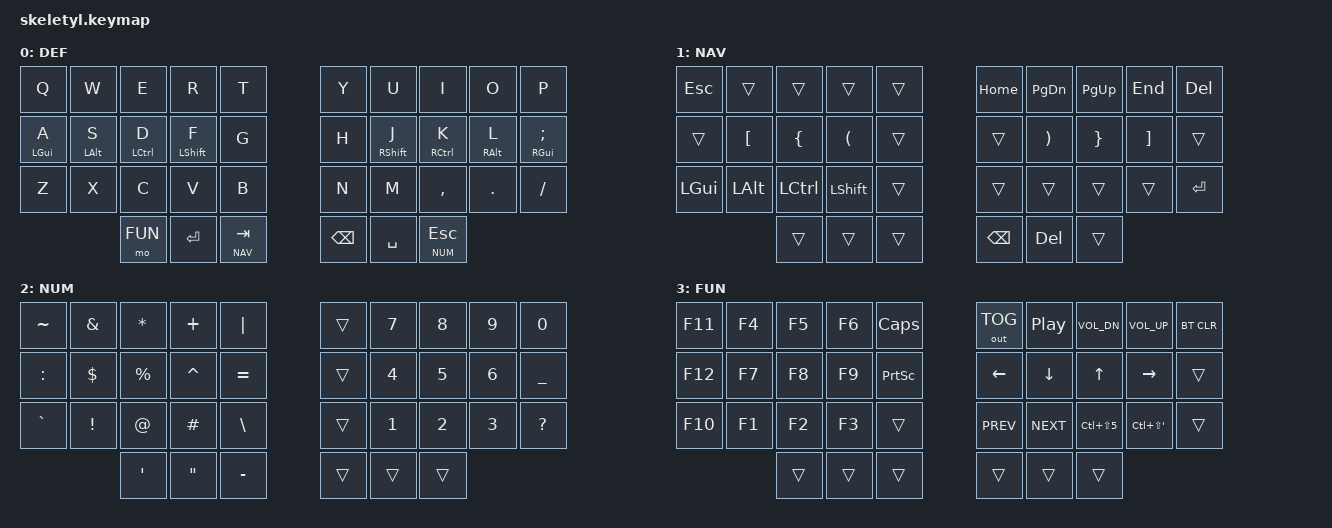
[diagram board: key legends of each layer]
#include <behaviors.dtsi>
#include <dt-bindings/zmk/bt.h>
#include <dt-bindings/zmk/keys.h>
#include <dt-bindings/zmk/outputs.h>

#define DEF 0
#define NAV 1
#define NUM 2
#define FUN 3

#define KEYS_L 0 1 2 3 4 10 11 12 13 14 20 21 22 23 24
#define KEYS_R 5 6 7 8 9 15 16 17 18 19 25 26 27 28 29
#define THUMBS 30 31 32 33 34 35

&lt {
    tapping-term-ms = <200>;
    flavor = "balanced";
    quick-tap-ms = <150>;
};

/ {
    behaviors {
        hml: home_row_mod_left {
            compatible = "zmk,behavior-hold-tap";
            #binding-cells = <2>;
            flavor = "balanced";
            tapping-term-ms = <280>;
            quick-tap-ms = <175>;
            require-prior-idle-ms = <150>;
            bindings = <&kp>, <&kp>;
            hold-trigger-key-positions = <KEYS_R THUMBS>;
            hold-trigger-on-release;
        };

        hmr: home_row_mod_right {
            compatible = "zmk,behavior-hold-tap";
            #binding-cells = <2>;
            flavor = "balanced";
            tapping-term-ms = <280>;
            quick-tap-ms = <175>;
            require-prior-idle-ms = <150>;
            bindings = <&kp>, <&kp>;
            hold-trigger-key-positions = <KEYS_L THUMBS>;
            hold-trigger-on-release;
        };
    };

    combos {
        compatible = "zmk,combos";

        combo_fn {
            timeout-ms = <50>;
            key-positions = <32 33>;
            bindings = <&mo FUN>;
        };
    };

    keymap {
        compatible = "zmk,keymap";

        default_layer {
            display-name = "DEF";
            bindings = <
&kp Q       &kp W       &kp E        &kp R        &kp T          &kp Y        &kp U        &kp I       &kp O       &kp P
&hml LGUI A &hml LALT S &hml LCTRL D &hml LSHFT F &kp G          &kp H        &hmr RSHFT J &hmr RCTRL K &hmr RALT L &hmr RGUI SEMI
&kp Z       &kp X       &kp C        &kp V        &kp B          &kp N        &kp M        &kp COMMA   &kp DOT     &kp FSLH
                         &mo FUN      &kp ENTER    &lt NAV TAB    &kp BSPC     &kp SPACE    &lt NUM ESC
            >;
        };

        nav_layer {
            display-name = "NAV";
            bindings = <
&kp ESC     &trans      &trans       &trans       &trans         &kp HOME     &kp PG_DN    &kp PG_UP   &kp END     &kp DEL
&trans      &kp LBKT    &kp LBRC     &kp LPAR     &trans         &trans       &kp RPAR     &kp RBRC    &kp RBKT    &trans
&kp LGUI    &kp LALT    &kp LCTRL    &kp LSHFT    &trans         &trans       &trans       &trans      &trans      &kp ENTER
                         &trans       &trans       &trans         &kp BSPC     &kp DEL      &trans
            >;
        };

        num_layer {
            display-name = "NUM";
            bindings = <
&kp TILDE   &kp AMPS    &kp ASTRK   &kp PLUS     &kp PIPE       &trans       &kp N7       &kp N8      &kp N9      &kp N0
&kp COLON   &kp DLLR    &kp PRCNT   &kp CARET    &kp EQUAL      &trans       &kp N4       &kp N5      &kp N6      &kp UNDER
&kp GRAVE   &kp EXCL    &kp AT      &kp POUND    &kp BSLH       &trans       &kp N1       &kp N2      &kp N3      &kp QMARK
                         &kp SQT     &kp DQT      &kp MINUS      &trans       &trans       &trans
            >;
        };

        fun_layer {
            display-name = "FUN";
            bindings = <
&kp F11     &kp F4      &kp F5      &kp F6       &kp CAPS       &out OUT_TOG &kp C_PP     &kp C_VOL_DN &kp C_VOL_UP &bt BT_CLR
&kp F12     &kp F7      &kp F8      &kp F9       &kp PSCRN      &kp LEFT     &kp DOWN     &kp UP       &kp RIGHT    &trans
&kp F10     &kp F1      &kp F2      &kp F3       &trans         &kp C_PREV   &kp C_NEXT   &kp LC(LS(N5)) &kp LC(LS(SQT)) &trans
                         &trans      &trans       &trans         &trans       &trans       &trans
            >;
        };
    };
};
